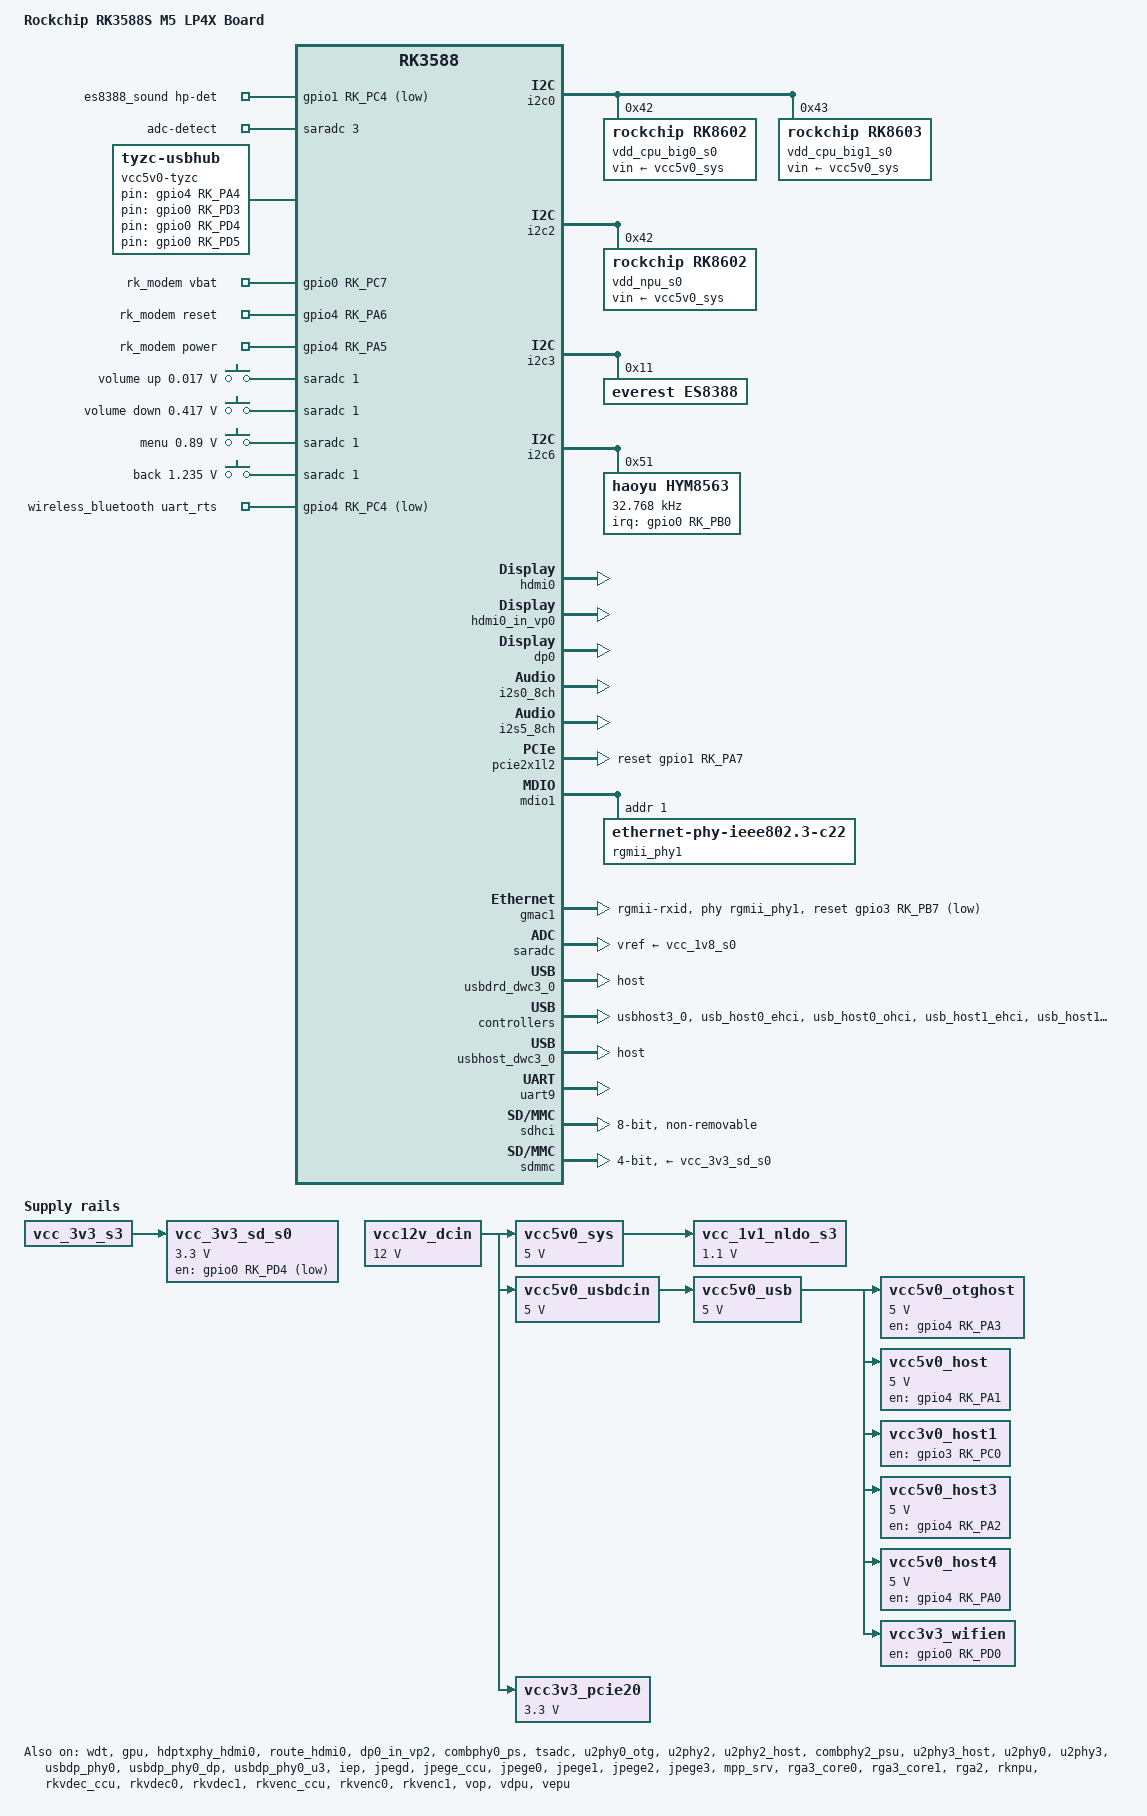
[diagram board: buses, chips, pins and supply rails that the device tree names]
// SPDX-License-Identifier: (GPL-2.0+ OR MIT)
/*
 * Copyright (c) 2021 Rockchip Electronics Co., Ltd.
 *
 */

/dts-v1/;

#include "dt-bindings/usb/pd.h"
#include <dt-bindings/gpio/gpio.h>
#include <dt-bindings/pwm/pwm.h>
#include <dt-bindings/pinctrl/rockchip.h>
#include <dt-bindings/input/rk-input.h>
#include <dt-bindings/display/drm_mipi_dsi.h>
#include <dt-bindings/display/rockchip_vop.h>
#include <dt-bindings/sensor-dev.h>
#include "rk3588s.dtsi"
#include "rk3588-rk806-single.dtsi"
#include "rk3588-linux.dtsi"

/ {
	model = "Rockchip RK3588S M5 LP4X Board";
	compatible = "rockchip,rk3588s-evb4-lp4x-v10", "rockchip,rk3588";
/*
	test-power {
		status = "okay";
	};
*/
	vcc12v_dcin: vcc12v-dcin {
		compatible = "regulator-fixed";
		regulator-name = "vcc12v_dcin";
		regulator-always-on;
		regulator-boot-on;
		regulator-min-microvolt = <12000000>;
		regulator-max-microvolt = <12000000>;
	};

	vcc5v0_sys: vcc5v0-sys {
		compatible = "regulator-fixed";
		regulator-name = "vcc5v0_sys";
		regulator-always-on;
		regulator-boot-on;
		regulator-min-microvolt = <5000000>;
		regulator-max-microvolt = <5000000>;
		vin-supply = <&vcc12v_dcin>;
	};

	vcc5v0_usbdcin: vcc5v0-usbdcin {
		compatible = "regulator-fixed";
		regulator-name = "vcc5v0_usbdcin";
		regulator-always-on;
		regulator-boot-on;
		regulator-min-microvolt = <5000000>;
		regulator-max-microvolt = <5000000>;
		vin-supply = <&vcc12v_dcin>;
	};

	vcc5v0_usb: vcc5v0-usb {
		compatible = "regulator-fixed";
		regulator-name = "vcc5v0_usb";
		regulator-always-on;
		regulator-boot-on;
		regulator-min-microvolt = <5000000>;
		regulator-max-microvolt = <5000000>;
		vin-supply = <&vcc5v0_usbdcin>;
	};

	vcc5v0_otghost: vcc5v0-otghost {
		status = "okay";
		compatible = "regulator-fixed";
		regulator-name = "vcc5v0_otghost";
		regulator-boot-on;
		regulator-always-on;
		regulator-min-microvolt = <5000000>;
		regulator-max-microvolt = <5000000>;
		enable-active-high;
		gpio = <&gpio4 RK_PA3 GPIO_ACTIVE_HIGH>;
		vin-supply = <&vcc5v0_usb>;
		pinctrl-names = "default";
		pinctrl-0 = <&vcc5v0_otghost_en>;
	};
	
	vcc5v0_host: vcc5v0-host {
		compatible = "regulator-fixed";
		regulator-name = "vcc5v0_host";
		regulator-boot-on;
		regulator-always-on;
		regulator-min-microvolt = <5000000>;
		regulator-max-microvolt = <5000000>;
		enable-active-high;
		gpio = <&gpio4 RK_PA1 GPIO_ACTIVE_HIGH>;
		vin-supply = <&vcc5v0_usb>;
		pinctrl-names = "default";
		pinctrl-0 = <&vcc5v0_host_en>;
	};	

	vcc3v0_host1: vcc3v0-host1 {
		compatible = "regulator-fixed";
		regulator-name = "vcc3v0_host1";
		regulator-boot-on;
		regulator-always-on;
		enable-active-high;
		gpio = <&gpio3 RK_PC0 GPIO_ACTIVE_HIGH>;
		vin-supply = <&vcc5v0_usb>;
	};

	vcc5v0_host3: vcc5v0-host3 {
		compatible = "regulator-fixed";
		regulator-name = "vcc5v0_host3";
		regulator-boot-on;
		regulator-always-on;
		regulator-min-microvolt = <5000000>;
		regulator-max-microvolt = <5000000>;
		enable-active-high;
		gpio = <&gpio4 RK_PA2 GPIO_ACTIVE_HIGH>;
		vin-supply = <&vcc5v0_usb>;
		pinctrl-names = "default";
		pinctrl-0 = <&vcc5v0_host3_en>;
	};	

	vcc5v0_host4: vcc5v0-host4 {
		compatible = "regulator-fixed";
		regulator-name = "vcc5v0_host4";
		regulator-boot-on;
		regulator-always-on;
		regulator-min-microvolt = <5000000>;
		regulator-max-microvolt = <5000000>;
		enable-active-high;
		gpio = <&gpio4 RK_PA0 GPIO_ACTIVE_HIGH>;
		vin-supply = <&vcc5v0_usb>;
		pinctrl-names = "default";
		pinctrl-0 = <&vcc5v0_host4_en>;
	};	
	
	vcc3v3_wifien: vcc3v3-wifien {
		compatible = "regulator-fixed";
		regulator-name = "vcc3v3_wifien";
		regulator-boot-on;
		regulator-always-on;
		enable-active-high;
		gpio = <&gpio0 RK_PD0 GPIO_ACTIVE_HIGH>;
		vin-supply = <&vcc5v0_usb>;
	};

	vcc_1v1_nldo_s3: vcc-1v1-nldo-s3 {
		compatible = "regulator-fixed";
		regulator-name = "vcc_1v1_nldo_s3";
		regulator-always-on;
		regulator-boot-on;
		regulator-min-microvolt = <1100000>;
		regulator-max-microvolt = <1100000>;
		vin-supply = <&vcc5v0_sys>;
	};

	vcc_3v3_sd_s0: vcc-3v3-sd-s0 {
		compatible = "regulator-fixed";
		regulator-name = "vcc_3v3_sd_s0";
		regulator-min-microvolt = <3300000>;
		regulator-max-microvolt = <3300000>;
		gpios = <&gpio0 RK_PD4 GPIO_ACTIVE_LOW>;
		enable-active-low;
		vin-supply = <&vcc_3v3_s3>;
			regulator-state-mem {
			regulator-off-in-suspend;
		};
	};

	vcc3v3_pcie20: vcc3v3-pcie20 {
		compatible = "regulator-fixed";
		regulator-name = "vcc3v3_pcie20";
		regulator-min-microvolt = <3300000>;
		regulator-max-microvolt = <3300000>;
		startup-delay-us = <5000>;
		vin-supply = <&vcc12v_dcin>;
	};	

	hdmi0_sound: hdmi0-sound {
		status = "disabled";
		compatible = "rockchip,hdmi";
		rockchip,mclk-fs = <128>;
		rockchip,card-name = "rockchip-hdmi0";
		rockchip,cpu = <&i2s5_8ch>;
		rockchip,codec = <&hdmi0>;
		rockchip,jack-det;
	};

	es8388_sound: es8388-sound {
		status = "okay";
		compatible = "rockchip,multicodecs-card";
		rockchip,card-name = "rockchip-es8388";
		hp-det-gpio = <&gpio1 RK_PC4 GPIO_ACTIVE_LOW>;
		io-channels = <&saradc 3>;
		io-channel-names = "adc-detect";
		keyup-threshold-microvolt = <1800000>;
		poll-interval = <100>;
		//spk-con-gpio = <&gpio1 RK_PD3 GPIO_ACTIVE_HIGH>;
		//hp-con-gpio = <&gpio1 RK_PD2 GPIO_ACTIVE_HIGH>;
		rockchip,format = "i2s";
		rockchip,mclk-fs = <256>;
		rockchip,cpu = <&i2s0_8ch>;
		rockchip,codec = <&es8388>;
		rockchip,audio-routing =
					"Headphone", "LOUT1",
					"Headphone", "ROUT1",
					"Speaker", "LOUT2",
					"Speaker", "ROUT2",
					"Headphone", "Headphone Power",
					"Headphone", "Headphone Power",
					"Speaker", "Speaker Power",
					"Speaker", "Speaker Power",
					"LINPUT1", "Main Mic",
					"LINPUT2", "Main Mic",
					"RINPUT1", "Headset Mic",
					"RINPUT2", "Headset Mic";
		pinctrl-names = "default";
		pinctrl-0 = <&hp_det>;
		play-pause-key {
				label = "playpause";
				linux,code = <KEY_PLAYPAUSE>;
				press-threshold-microvolt = <2000>;
		};
	};
	
	vcc5v0-tyzc {
		compatible = "tyzc-usbhub";
		usbhub1,pin = <&gpio4 RK_PA4 GPIO_ACTIVE_HIGH>;
		led1,pin = <&gpio0 RK_PD3 GPIO_ACTIVE_HIGH>;
		led2,pin = <&gpio0 RK_PD4 GPIO_ACTIVE_HIGH>;
		led3,pin = <&gpio0 RK_PD5 GPIO_ACTIVE_HIGH>;
		status = "okay";
	};	
	
	rk_modem: rk-modem {
		compatible="4g-modem-platdata";
		//pinctrl-names = "default";
		//pinctrl-0 = <&lte_vbat &lte_reset>;
		4G,vbat-gpio = <&gpio0 RK_PC7 GPIO_ACTIVE_HIGH>;
		4G,reset-gpio = <&gpio4 RK_PA6 GPIO_ACTIVE_HIGH>;
		4G,power-gpio = <&gpio4 RK_PA5 GPIO_ACTIVE_HIGH>;
		status = "okay";
	};	

	adc_keys: adc-keys {
		compatible = "adc-keys";
		io-channels = <&saradc 1>;
		io-channel-names = "buttons";
		keyup-threshold-microvolt = <1800000>;
		poll-interval = <100>;

		vol-up-key {
			label = "volume up";
			linux,code = <KEY_VOLUMEUP>;
			press-threshold-microvolt = <17000>;
		};

		vol-down-key {
			label = "volume down";
			linux,code = <KEY_VOLUMEDOWN>;
			press-threshold-microvolt = <417000>;
		};

		menu-key {
			label = "menu";
			linux,code = <KEY_MENU>;
			press-threshold-microvolt = <890000>;
		};

		back-key {
			label = "back";
			linux,code = <KEY_BACK>;
			press-threshold-microvolt = <1235000>;
		};
	};
	
	wireless_bluetooth: wireless-bluetooth {
		compatible = "bluetooth-platdata";
		clocks = <&hym8563>;
		clock-names = "ext_clock";
		uart_rts_gpios = <&gpio4 RK_PC4 GPIO_ACTIVE_LOW>;
		status = "okay";
	};
};

&wdt {
	status = "okay";
};

&i2c0 {
	status = "okay";
	pinctrl-names = "default";
	pinctrl-0 = <&i2c0m2_xfer>;

	vdd_cpu_big0_s0: vdd_cpu_big0_mem_s0: rk8602@42 {
		compatible = "rockchip,rk8602";
		reg = <0x42>;
		vin-supply = <&vcc5v0_sys>;
		regulator-compatible = "rk860x-reg";
		regulator-name = "vdd_cpu_big0_s0";
		regulator-min-microvolt = <550000>;
		regulator-max-microvolt = <1050000>;
		regulator-ramp-delay = <2300>;
		rockchip,suspend-voltage-selector = <1>;
		regulator-boot-on;
		regulator-always-on;
		regulator-state-mem {
			regulator-off-in-suspend;
		};
	};

	vdd_cpu_big1_s0: vdd_cpu_big1_mem_s0: rk8603@43 {
		compatible = "rockchip,rk8603";
		reg = <0x43>;
		vin-supply = <&vcc5v0_sys>;
		regulator-compatible = "rk860x-reg";
		regulator-name = "vdd_cpu_big1_s0";
		regulator-min-microvolt = <550000>;
		regulator-max-microvolt = <1050000>;
		regulator-ramp-delay = <2300>;
		rockchip,suspend-voltage-selector = <1>;
		regulator-boot-on;
		regulator-always-on;
		regulator-state-mem {
			regulator-off-in-suspend;
		};
	};
};

&i2c2 {
	status = "okay";

	vdd_npu_s0: vdd_npu_mem_s0: rk8602@42 {
		compatible = "rockchip,rk8602";
		reg = <0x42>;
		vin-supply = <&vcc5v0_sys>;
		regulator-compatible = "rk860x-reg";
		regulator-name = "vdd_npu_s0";
		regulator-min-microvolt = <550000>;
		regulator-max-microvolt = <950000>;
		regulator-ramp-delay = <2300>;
		rockchip,suspend-voltage-selector = <1>;
		regulator-boot-on;
		regulator-always-on;
		regulator-state-mem {
			regulator-off-in-suspend;
		};
	};
};

&i2c3 {
	status = "okay";
	pinctrl-names = "default";
	pinctrl-0 = <&i2c3m0_xfer>;	

	es8388: es8388@11 {
			status = "okay";
			#sound-dai-cells = <0>;
			compatible = "everest,es8388", "everest,es8323";
			reg = <0x11>;
			clocks = <&mclkout_i2s0>;
			clock-names = "mclk";
			assigned-clocks = <&mclkout_i2s0>;
			assigned-clock-rates = <12288000>;
			pinctrl-names = "default";
			pinctrl-0 = <&i2s0_mclk>;
	};		
};

&i2c6 {
	status = "okay";
	pinctrl-names = "default";
	pinctrl-0 = <&i2c6m3_xfer>;

	hym8563: hym8563@51 {
		compatible = "haoyu,hym8563";
		reg = <0x51>;
		#clock-cells = <0>;
		clock-frequency = <32768>;
		clock-output-names = "hym8563";
		pinctrl-names = "default";
		pinctrl-0 = <&hym8563_int>;
		interrupt-parent = <&gpio0>;
		interrupts = <RK_PB0 IRQ_TYPE_LEVEL_LOW>;
		wakeup-source;
		status = "okay";
	};
};

&av1d_mmu {
	status = "okay";
};

&cpu_l0 {
	cpu-supply = <&vdd_cpu_lit_s0>;
	mem-supply = <&vdd_cpu_lit_mem_s0>;
};

&cpu_b0 {
	cpu-supply = <&vdd_cpu_big0_s0>;
	mem-supply = <&vdd_cpu_big0_mem_s0>;
};

&cpu_b2 {
	cpu-supply = <&vdd_cpu_big1_s0>;
	mem-supply = <&vdd_cpu_big1_mem_s0>;
};

&gpu {
	mali-supply = <&vdd_gpu_s0>;
	mem-supply = <&vdd_gpu_mem_s0>;
	status = "okay";
};

&hdmi0 {
	enable-gpios = <&gpio4 RK_PB6 GPIO_ACTIVE_HIGH>;
	//enable-gpios = <&gpio3 RK_PB4 GPIO_ACTIVE_HIGH>;
	status = "okay";
};

&hdmi0_in_vp0 {
	status = "okay";
};

&hdmi0_sound {
	status = "okay";
};

&hdptxphy_hdmi0 {
	status = "okay";
};

&route_hdmi0 {
	status = "okay";
	connect = <&vp0_out_hdmi0>;
	//logo,mode = "fullscreen";
	/delete-property/ force-output;
	/delete-node/ force_timing;
};

&dp0 {
	status = "okay";
};

&dp0_in_vp2 {
	status = "okay";
};

&combphy0_ps {
	status = "okay";
};

&i2s0_8ch {
	status = "okay";
	rockchip,clk-trcm = <1>;
	pinctrl-0 = <&i2s0_lrck
	     &i2s0_sclk
	     &i2s0_sdi0
	     &i2s0_sdo0>;
};

&i2s5_8ch {
	status = "okay";
};

&pcie2x1l2 {
	reset-gpios = <&gpio1 RK_PA7 GPIO_ACTIVE_HIGH>;
	rockchip,skip-scan-in-resume;
	status = "okay";
};

&mdio1 {
        rgmii_phy1: phy@1 {
                compatible = "ethernet-phy-ieee802.3-c22";
                reg = <0x1>;
        };
};

&gmac1 {
        /* Use rgmii-rxid mode to disable rx delay inside Soc */
        phy-mode = "rgmii-rxid";
        clock_in_out = "intput";

        snps,reset-gpio = <&gpio3 RK_PB7 GPIO_ACTIVE_LOW>;
        snps,reset-active-low;
        /* Reset time is 20ms, 100ms for rtl8211f */
        snps,reset-delays-us = <0 20000 100000>;

        pinctrl-names = "default";
        pinctrl-0 = <&gmac1_miim
                     &gmac1_tx_bus2
                     &gmac1_rx_bus2
                     &gmac1_rgmii_clk
                     &gmac1_rgmii_bus
                     &gmac1_clkinout>;

        tx_delay = <0x42>;
        /* rx_delay = <0x4f>; */

        phy-handle = <&rgmii_phy1>;
        status = "okay";
};

&rockchip_suspend {
	status = "okay";
	rockchip,sleep-debug-en = <1>;
};

&dfi {
	status = "disabled";
};

&dmc {
	status = "disabled"; 
};

&saradc {
	status = "okay";
	vref-supply = <&vcc_1v8_s0>;
};

&tsadc {
	status = "okay";
};

&u2phy0_otg {
	phy-supply = <&vcc5v0_otghost>;
	rockchip,typec-vbus-det;
	status = "okay";
};

&usbdrd_dwc3_0 {
	status = "okay";
	dr_mode = "host"; //setprop vendor.sys.usb.adb.disabled 1
	//dr_mode = "otg"; //device //setprop sys.usb.configfs 1
	extcon = <&u2phy0>;
};

// for USB20_HOST0
&u2phy2{
	status = "okay";
};

&u2phy2_host {
	status = "okay";
};


//for host2 usb3.0 
&combphy2_psu {
	status = "okay";
};

&u2phy3_host {
	phy-supply = <&vcc5v0_host>;
	status = "okay";
};

&usbhost3_0 {
	status = "okay";
};

&usbhost_dwc3_0 {
	status = "okay";
	dr_mode = "host";
};

&u2phy0 {
	status = "okay";
};

&u2phy3 {
	status = "okay";
};

&usb_host0_ehci {
	status = "okay";
};

&usb_host0_ohci {
	status = "okay";
};

&usb_host1_ehci {
	status = "okay";
};

&usb_host1_ohci {
	status = "okay";
};

&usbdp_phy0 {
	status = "okay";
	rockchip,dp-lane-mux = <2 3>;
};

&usbdp_phy0_dp {
	status = "okay";
};

&usbdp_phy0_u3 {
	status = "okay";
};

&usbdrd3_0 {
	status = "okay";
};

&uart9 {
	status = "okay";
	pinctrl-names = "default";
	pinctrl-0 = <&uart9m2_xfer &uart9m2_ctsn>;
};

&sdhci {
	bus-width = <8>;
	no-sdio;
	no-sd;
	non-removable;
	max-frequency = <200000000>;
	mmc-hs400-1_8v;
	mmc-hs400-enhanced-strobe;
	full-pwr-cycle-in-suspend;
	status = "okay";
};

&sdmmc {
	status = "okay";
	max-frequency = <150000000>;
	no-sdio;
	no-mmc;
	bus-width = <4>;
	cap-mmc-highspeed;
	cap-sd-highspeed;
	disable-wp;
	sd-uhs-sdr104;
	vmmc-supply = <&vcc_3v3_sd_s0>;
	vqmmc-supply = <&vccio_sd_s0>;
};

&iep {
	status = "okay";
};

&iep_mmu {
	status = "okay";
};

&jpegd {
	status = "okay";
};

&jpegd_mmu {
	status = "okay";
};

&jpege_ccu {
	status = "okay";
};

&jpege0 {
	status = "okay";
};

&jpege0_mmu {
	status = "okay";
};

&jpege1 {
	status = "okay";
};

&jpege1_mmu {
	status = "okay";
};

&jpege2 {
	status = "okay";
};

&jpege2_mmu {
	status = "okay";
};

&jpege3 {
	status = "okay";
};

&jpege3_mmu {
	status = "okay";
};

&mpp_srv {
	status = "okay";
};

&rga3_core0 {
	status = "okay";
};

&rga3_0_mmu {
	status = "okay";
};

&rga3_core1 {
	status = "okay";
};

&rga3_1_mmu {
	status = "okay";
};

&rga2 {
	status = "okay";
};

&rknpu {
	rknpu-supply = <&vdd_npu_s0>;
	mem-supply = <&vdd_npu_mem_s0>;
	status = "okay";
};

&rknpu_mmu {
	status = "okay";
};

&rkvdec_ccu {
	status = "okay";
};

&rkvdec0 {
	status = "okay";
};

&rkvdec0_mmu {
	status = "okay";
};

&rkvdec1 {
	status = "okay";
};

&rkvdec1_mmu {
	status = "okay";
};

&rkvenc_ccu {
	status = "okay";
};

&rkvenc0 {
	venc-supply = <&vdd_vdenc_s0>;
	mem-supply = <&vdd_vdenc_mem_s0>;
	status = "okay";
};

&rkvenc0_mmu {
	status = "okay";
};

&rkvenc1 {
	venc-supply = <&vdd_vdenc_s0>;
	mem-supply = <&vdd_vdenc_mem_s0>;
	status = "okay";
};

&rkvenc1_mmu {
	status = "okay";
};

&vop {
	assigned-clocks = <&cru ACLK_VOP>;
	assigned-clock-rates = <800000000>;
	status = "okay";
};

&vop_mmu {
	    status = "okay";
};

&vdpu {
	status = "okay";
};

&vdpu_mmu {
	status = "okay";
};

&vepu {
	status = "okay";
};

/* vp0 & vp1 splice for 8K output */
&vp0 {
	rockchip,plane-mask = <(1 << ROCKCHIP_VOP2_CLUSTER0 | 1 << ROCKCHIP_VOP2_ESMART0)>;
	rockchip,primary-plane = <ROCKCHIP_VOP2_ESMART0>;
};

&vp1 {
	rockchip,plane-mask = <(1 << ROCKCHIP_VOP2_CLUSTER1 | 1 << ROCKCHIP_VOP2_ESMART1)>;
	rockchip,primary-plane = <ROCKCHIP_VOP2_ESMART1>;
};

&vp2 {
	rockchip,plane-mask = <(1 << ROCKCHIP_VOP2_CLUSTER2 | 1 << ROCKCHIP_VOP2_ESMART2)>;
	rockchip,primary-plane = <ROCKCHIP_VOP2_ESMART2>;
};

&vp3 {
	rockchip,plane-mask = <(1 << ROCKCHIP_VOP2_CLUSTER3 | 1 << ROCKCHIP_VOP2_ESMART3)>;
	rockchip,primary-plane = <ROCKCHIP_VOP2_ESMART3>;
};

&pinctrl {
	headphone {
		es8326_irq: es8326-irq {
				rockchip,pins = <1 RK_PC4 RK_FUNC_GPIO &pcfg_pull_up>;
		};
	};

	headphone {
		hp_det: hp-det {
			rockchip,pins = <1 RK_PC4 RK_FUNC_GPIO &pcfg_pull_up>;
		};
	};

	hym8563 {
		hym8563_int: hym8563-int {
			rockchip,pins = <0 RK_PB0 RK_FUNC_GPIO &pcfg_pull_up>;
		};
	};

	usb {
		vcc5v0_otghost_en: vcc5v0-otghost-en {
			rockchip,pins = <4 RK_PA3 RK_FUNC_GPIO &pcfg_pull_none>;
		};
		vcc5v0_host_en: vcc5v0-host-en {
			rockchip,pins = <4 RK_PA1 RK_FUNC_GPIO &pcfg_pull_none>;
		};

		vcc5v0_host3_en: vcc5v0-host3-en {
			rockchip,pins = <4 RK_PA2 RK_FUNC_GPIO &pcfg_pull_none>;
		};
		vcc5v0_host4_en: vcc5v0-host4-en {
			rockchip,pins = <4 RK_PA0 RK_FUNC_GPIO &pcfg_pull_none>;
		};		
	};

	tyzc {
		/*hdmimode_pins: hdmimode-pins {
			rockchip,pins = <4 RK_PB6 RK_FUNC_GPIO &pcfg_pull_down>;
		};*/
		
		lcdrst_pins: lcdrst-pins {
			rockchip,pins = <4 RK_PD2 RK_FUNC_GPIO &pcfg_pull_up>;
		};	
	};
};
